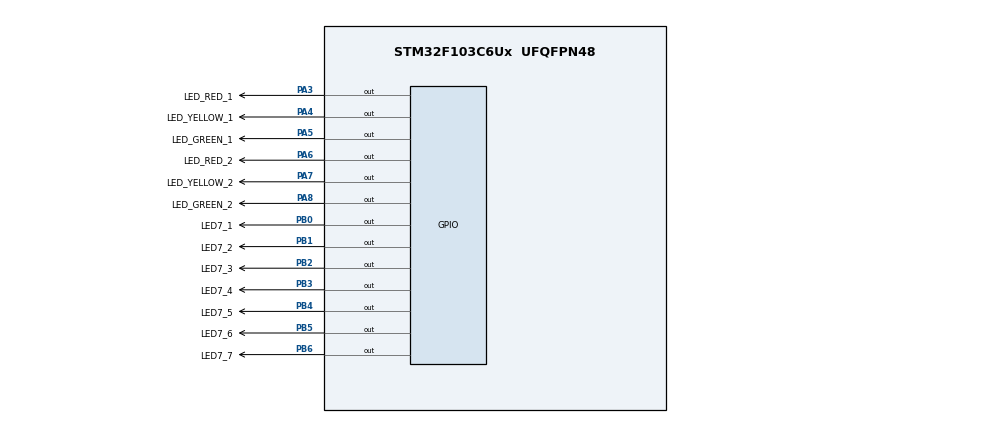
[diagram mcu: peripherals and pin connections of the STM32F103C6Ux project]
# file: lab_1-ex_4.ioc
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Mcu.Family=STM32F1
Mcu.Name=STM32F103C6Ux
Mcu.Package=UFQFPN48
NVIC.PriorityGroup=NVIC_PRIORITYGROUP_4
PA3.GPIO_Label=LED_RED_1
PA3.Signal=GPIO_Output
PA4.GPIO_Label=LED_YELLOW_1
PA4.Signal=GPIO_Output
PA5.GPIO_Label=LED_GREEN_1
PA5.Signal=GPIO_Output
PA6.GPIO_Label=LED_RED_2
PA6.Signal=GPIO_Output
PA7.GPIO_Label=LED_YELLOW_2
PA7.Signal=GPIO_Output
PA8.GPIO_Label=LED_GREEN_2
PA8.Signal=GPIO_Output
PB0.GPIO_Label=LED7_1
PB0.Signal=GPIO_Output
PB1.GPIO_Label=LED7_2
PB1.Signal=GPIO_Output
PB2.GPIO_Label=LED7_3
PB2.Signal=GPIO_Output
PB3.GPIO_Label=LED7_4
PB3.Signal=GPIO_Output
PB4.GPIO_Label=LED7_5
PB4.Signal=GPIO_Output
PB5.GPIO_Label=LED7_6
PB5.Signal=GPIO_Output
PB6.GPIO_Label=LED7_7
PB6.Signal=GPIO_Output
ProjectManager.HeapSize=0x200
ProjectManager.StackSize=0x400
ProjectManager.TargetToolchain=STM32CubeIDE
RCC.APB1Freq_Value=8000000
RCC.APB2Freq_Value=8000000
VP_SYS_VS_ND.Mode=No_Debug
board=custom

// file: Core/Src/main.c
/* USER CODE BEGIN Header */
/**
  ******************************************************************************
  * @file           : main.c
  * @brief          : Main program body
  ******************************************************************************
  * @attention
  *
  * <h2><center>&copy; Copyright (c) 2022 STMicroelectronics.
  * All rights reserved.</center></h2>
  *
  * This software component is licensed by ST under BSD 3-Clause license,
  * the "License"; You may not use this file except in compliance with the
  * License. You may obtain a copy of the License at:
  *                        opensource.org/licenses/BSD-3-Clause
  *
  ******************************************************************************
  */
/* USER CODE END Header */
#include "main.h"

void SystemClock_Config(void);
static void MX_GPIO_Init(void);

int main(void)
{

  /* MCU Configuration--------------------------------------------------------*/

  /* Reset of all peripherals, Initializes the Flash interface and the Systick. */
  HAL_Init();

  /* USER CODE BEGIN Init */
  int point = 0;
  int count_red_1 = 5;
  int count_yellow_1 = 2;
  int count_green_1 = 3;
  int count_red_2 = 5;
  int count_yellow_2 = 2;
  int count_green_2 = 3;
  int counter = 0;
  /* USER CODE END Init */

  /* Configure the system clock */
  SystemClock_Config();

  /* Initialize all configured peripherals */
  MX_GPIO_Init();

  /* Infinite loop */
  /* USER CODE BEGIN WHILE */
  while (1)
  {
	  if(point == 0){
	  		  HAL_GPIO_WritePin(LED_RED_1_GPIO_Port, LED_RED_1_Pin, GPIO_PIN_RESET);
	  		  HAL_GPIO_WritePin(LED_YELLOW_1_GPIO_Port, LED_YELLOW_1_Pin, GPIO_PIN_SET);
	  		  HAL_GPIO_WritePin(LED_GREEN_1_GPIO_Port, LED_GREEN_1_Pin, GPIO_PIN_SET);
	  		  HAL_GPIO_WritePin(LED_RED_2_GPIO_Port, LED_RED_2_Pin, GPIO_PIN_SET);
	  		  if(count_green_2 > 0){
	  			  HAL_GPIO_WritePin(LED_GREEN_2_GPIO_Port, LED_GREEN_2_Pin, GPIO_PIN_RESET);
	  			  HAL_GPIO_WritePin(LED_YELLOW_2_GPIO_Port, LED_YELLOW_2_Pin, GPIO_PIN_SET);
	  			  count_green_2--;
	  		  } else if (count_yellow_2 > 0){
	  			  HAL_GPIO_WritePin(LED_GREEN_2_GPIO_Port, LED_GREEN_2_Pin, GPIO_PIN_SET);
	  			  HAL_GPIO_WritePin(LED_YELLOW_2_GPIO_Port, LED_YELLOW_2_Pin, GPIO_PIN_RESET);
	  			  count_yellow_2--;
	  		  } else {
	  			  count_green_2 = 3;
	  			  count_yellow_2 = 2;
	  		  }
	  		  if(count_red_1 > 0){
	  			  count_red_1--;
	  		  } else {
	  			  count_red_1 = 5;
	  			  point = 1;
	  		  }

	  	  } else {
	  		  HAL_GPIO_WritePin(LED_RED_1_GPIO_Port, LED_RED_1_Pin, GPIO_PIN_SET);
	  		  HAL_GPIO_WritePin(LED_RED_2_GPIO_Port, LED_RED_2_Pin,  GPIO_PIN_RESET);
	  		  HAL_GPIO_WritePin(LED_YELLOW_2_GPIO_Port, LED_YELLOW_2_Pin,  GPIO_PIN_SET);
	  		  HAL_GPIO_WritePin(LED_GREEN_2_GPIO_Port, LED_GREEN_2_Pin,  GPIO_PIN_SET);
	  		  if(count_green_1 > 0){
	  			  HAL_GPIO_WritePin(LED_YELLOW_1_GPIO_Port, LED_YELLOW_1_Pin, GPIO_PIN_SET);
	  			  HAL_GPIO_WritePin(LED_GREEN_1_GPIO_Port, LED_GREEN_1_Pin, GPIO_PIN_RESET);
	  			  count_green_1--;
	  		  } else if(count_yellow_1 > 0){
	  			  HAL_GPIO_WritePin(LED_YELLOW_1_GPIO_Port, LED_YELLOW_1_Pin, GPIO_PIN_RESET);
	  			  HAL_GPIO_WritePin(LED_GREEN_1_GPIO_Port, LED_GREEN_1_Pin, GPIO_PIN_SET);
	  			  count_yellow_1--;
	  		  } else {
	  			  count_green_1 = 3;
	  			  count_yellow_1 = 2;
	  		  }
	  		  if(count_red_2 > 0){
	  			  count_red_2--;
	  		  } else {
	  			  count_red_2 = 5;
	  			  point = 0;
	  		  }

	  	  }
	  	  if(counter == 0){
	  		  	  	  HAL_GPIO_WritePin(LED7_1_GPIO_Port, LED7_1_Pin, RESET);
	  				  HAL_GPIO_WritePin(LED7_2_GPIO_Port, LED7_2_Pin, RESET);
	  				  HAL_GPIO_WritePin(LED7_3_GPIO_Port, LED7_3_Pin, RESET);
	  				  HAL_GPIO_WritePin(LED7_4_GPIO_Port, LED7_4_Pin, RESET);
	  				  HAL_GPIO_WritePin(LED7_5_GPIO_Port, LED7_5_Pin, RESET);
	  				  HAL_GPIO_WritePin(LED7_6_GPIO_Port, LED7_6_Pin, RESET);
	  				  HAL_GPIO_WritePin(LED7_7_GPIO_Port, LED7_7_Pin, SET);
	  				  counter++;
	  	  } else if (counter == 1){
		  	  	  HAL_GPIO_WritePin(LED7_1_GPIO_Port, LED7_1_Pin, SET);
				  HAL_GPIO_WritePin(LED7_2_GPIO_Port, LED7_2_Pin, RESET);
				  HAL_GPIO_WritePin(LED7_3_GPIO_Port, LED7_3_Pin, RESET);
				  HAL_GPIO_WritePin(LED7_4_GPIO_Port, LED7_4_Pin, SET);
				  HAL_GPIO_WritePin(LED7_5_GPIO_Port, LED7_5_Pin, SET);
				  HAL_GPIO_WritePin(LED7_6_GPIO_Port, LED7_6_Pin, SET);
				  HAL_GPIO_WritePin(LED7_7_GPIO_Port, LED7_7_Pin, SET);
				  counter++;
	  	  } else if( counter ==2){
	  	  	  HAL_GPIO_WritePin(LED7_1_GPIO_Port, LED7_1_Pin, RESET);
			  HAL_GPIO_WritePin(LED7_2_GPIO_Port, LED7_2_Pin, RESET);
			  HAL_GPIO_WritePin(LED7_3_GPIO_Port, LED7_3_Pin, SET);
			  HAL_GPIO_WritePin(LED7_4_GPIO_Port, LED7_4_Pin, RESET);
			  HAL_GPIO_WritePin(LED7_5_GPIO_Port, LED7_5_Pin, RESET);
			  HAL_GPIO_WritePin(LED7_6_GPIO_Port, LED7_6_Pin, SET);
			  HAL_GPIO_WritePin(LED7_7_GPIO_Port, LED7_7_Pin, RESET);
			  counter++;
	  	  } else if(counter == 3){
	  	  	  HAL_GPIO_WritePin(LED7_1_GPIO_Port, LED7_1_Pin, RESET);
			  HAL_GPIO_WritePin(LED7_2_GPIO_Port, LED7_2_Pin, RESET);
			  HAL_GPIO_WritePin(LED7_3_GPIO_Port, LED7_3_Pin, RESET);
			  HAL_GPIO_WritePin(LED7_4_GPIO_Port, LED7_4_Pin, RESET);
			  HAL_GPIO_WritePin(LED7_5_GPIO_Port, LED7_5_Pin, SET);
			  HAL_GPIO_WritePin(LED7_6_GPIO_Port, LED7_6_Pin, SET);
			  HAL_GPIO_WritePin(LED7_7_GPIO_Port, LED7_7_Pin, RESET);
			  counter++;
	  	  } else if(counter == 4){
	  	  	  HAL_GPIO_WritePin(LED7_1_GPIO_Port, LED7_1_Pin, SET);
			  HAL_GPIO_WritePin(LED7_2_GPIO_Port, LED7_2_Pin, RESET);
			  HAL_GPIO_WritePin(LED7_3_GPIO_Port, LED7_3_Pin, RESET);
			  HAL_GPIO_WritePin(LED7_4_GPIO_Port, LED7_4_Pin, SET);
			  HAL_GPIO_WritePin(LED7_5_GPIO_Port, LED7_5_Pin, SET);
			  HAL_GPIO_WritePin(LED7_6_GPIO_Port, LED7_6_Pin, RESET);
			  HAL_GPIO_WritePin(LED7_7_GPIO_Port, LED7_7_Pin, RESET);
			  counter++;
	  	  } else if(counter == 5){
	  	  	  HAL_GPIO_WritePin(LED7_1_GPIO_Port, LED7_1_Pin, RESET);
			  HAL_GPIO_WritePin(LED7_2_GPIO_Port, LED7_2_Pin, SET);
			  HAL_GPIO_WritePin(LED7_3_GPIO_Port, LED7_3_Pin, RESET);
			  HAL_GPIO_WritePin(LED7_4_GPIO_Port, LED7_4_Pin, RESET);
			  HAL_GPIO_WritePin(LED7_5_GPIO_Port, LED7_5_Pin, SET);
			  HAL_GPIO_WritePin(LED7_6_GPIO_Port, LED7_6_Pin, RESET);
			  HAL_GPIO_WritePin(LED7_7_GPIO_Port, LED7_7_Pin, RESET);
			  counter++;
	  	  } else if(counter == 6){
	  	  	  HAL_GPIO_WritePin(LED7_1_GPIO_Port, LED7_1_Pin, RESET);
			  HAL_GPIO_WritePin(LED7_2_GPIO_Port, LED7_2_Pin, SET);
			  HAL_GPIO_WritePin(LED7_3_GPIO_Port, LED7_3_Pin, RESET);
			  HAL_GPIO_WritePin(LED7_4_GPIO_Port, LED7_4_Pin, RESET);
			  HAL_GPIO_WritePin(LED7_5_GPIO_Port, LED7_5_Pin, RESET);
			  HAL_GPIO_WritePin(LED7_6_GPIO_Port, LED7_6_Pin, RESET);
			  HAL_GPIO_WritePin(LED7_7_GPIO_Port, LED7_7_Pin, RESET);
			  counter++;
	  	  } else if(counter == 7){
	  	  	  HAL_GPIO_WritePin(LED7_1_GPIO_Port, LED7_1_Pin, RESET);
			  HAL_GPIO_WritePin(LED7_2_GPIO_Port, LED7_2_Pin, RESET);
			  HAL_GPIO_WritePin(LED7_3_GPIO_Port, LED7_3_Pin, RESET);
			  HAL_GPIO_WritePin(LED7_4_GPIO_Port, LED7_4_Pin, SET);
			  HAL_GPIO_WritePin(LED7_5_GPIO_Port, LED7_5_Pin, SET);
			  HAL_GPIO_WritePin(LED7_6_GPIO_Port, LED7_6_Pin, SET);
			  HAL_GPIO_WritePin(LED7_7_GPIO_Port, LED7_7_Pin, SET);
			  counter++;
	  	  } else if(counter == 8){
	  	  	  HAL_GPIO_WritePin(LED7_1_GPIO_Port, LED7_1_Pin, RESET);
			  HAL_GPIO_WritePin(LED7_2_GPIO_Port, LED7_2_Pin, RESET);
			  HAL_GPIO_WritePin(LED7_3_GPIO_Port, LED7_3_Pin, RESET);
			  HAL_GPIO_WritePin(LED7_4_GPIO_Port, LED7_4_Pin, RESET);
			  HAL_GPIO_WritePin(LED7_5_GPIO_Port, LED7_5_Pin, RESET);
			  HAL_GPIO_WritePin(LED7_6_GPIO_Port, LED7_6_Pin, RESET);
			  HAL_GPIO_WritePin(LED7_7_GPIO_Port, LED7_7_Pin, RESET);
			  counter++;
	  	  } else{
	  	  	  HAL_GPIO_WritePin(LED7_1_GPIO_Port, LED7_1_Pin, RESET);
			  HAL_GPIO_WritePin(LED7_2_GPIO_Port, LED7_2_Pin, RESET);
			  HAL_GPIO_WritePin(LED7_3_GPIO_Port, LED7_3_Pin, RESET);
			  HAL_GPIO_WritePin(LED7_4_GPIO_Port, LED7_4_Pin, RESET);
			  HAL_GPIO_WritePin(LED7_5_GPIO_Port, LED7_5_Pin, SET);
			  HAL_GPIO_WritePin(LED7_6_GPIO_Port, LED7_6_Pin, RESET);
			  HAL_GPIO_WritePin(LED7_7_GPIO_Port, LED7_7_Pin, RESET);
			  counter = 0;
	  	  }

	  	  HAL_Delay(1000);
    /* USER CODE END WHILE */

  }
}

void SystemClock_Config(void)
{
  RCC_OscInitTypeDef RCC_OscInitStruct = {0};
  RCC_ClkInitTypeDef RCC_ClkInitStruct = {0};

  /** Initializes the RCC Oscillators according to the specified parameters
  * in the RCC_OscInitTypeDef structure.
  */
  RCC_OscInitStruct.OscillatorType = RCC_OSCILLATORTYPE_HSI;
  RCC_OscInitStruct.HSIState = RCC_HSI_ON;
  RCC_OscInitStruct.HSICalibrationValue = RCC_HSICALIBRATION_DEFAULT;
  RCC_OscInitStruct.PLL.PLLState = RCC_PLL_NONE;
  if (HAL_RCC_OscConfig(&RCC_OscInitStruct) != HAL_OK)
  {
    Error_Handler();
  }
  /** Initializes the CPU, AHB and APB buses clocks
  */
  RCC_ClkInitStruct.ClockType = RCC_CLOCKTYPE_HCLK|RCC_CLOCKTYPE_SYSCLK
                              |RCC_CLOCKTYPE_PCLK1|RCC_CLOCKTYPE_PCLK2;
  RCC_ClkInitStruct.SYSCLKSource = RCC_SYSCLKSOURCE_HSI;
  RCC_ClkInitStruct.AHBCLKDivider = RCC_SYSCLK_DIV1;
  RCC_ClkInitStruct.APB1CLKDivider = RCC_HCLK_DIV1;
  RCC_ClkInitStruct.APB2CLKDivider = RCC_HCLK_DIV1;

  if (HAL_RCC_ClockConfig(&RCC_ClkInitStruct, FLASH_LATENCY_0) != HAL_OK)
  {
    Error_Handler();
  }
}

static void MX_GPIO_Init(void)
{
  GPIO_InitTypeDef GPIO_InitStruct = {0};

  /* GPIO Ports Clock Enable */
  __HAL_RCC_GPIOA_CLK_ENABLE();
  __HAL_RCC_GPIOB_CLK_ENABLE();

  /*Configure GPIO pin Output Level */
  HAL_GPIO_WritePin(GPIOA, LED_RED_1_Pin|LED_YELLOW_1_Pin|LED_GREEN_1_Pin|LED_RED_2_Pin
                          |LED_YELLOW_2_Pin|LED_GREEN_2_Pin, GPIO_PIN_RESET);

  /*Configure GPIO pin Output Level */
  HAL_GPIO_WritePin(GPIOB, LED7_1_Pin|LED7_2_Pin|LED7_3_Pin|LED7_4_Pin
                          |LED7_5_Pin|LED7_6_Pin|LED7_7_Pin, GPIO_PIN_RESET);

  /*Configure GPIO pins : LED_RED_1_Pin LED_YELLOW_1_Pin LED_GREEN_1_Pin LED_RED_2_Pin
                           LED_YELLOW_2_Pin LED_GREEN_2_Pin */
  GPIO_InitStruct.Pin = LED_RED_1_Pin|LED_YELLOW_1_Pin|LED_GREEN_1_Pin|LED_RED_2_Pin
                          |LED_YELLOW_2_Pin|LED_GREEN_2_Pin;
  GPIO_InitStruct.Mode = GPIO_MODE_OUTPUT_PP;
  GPIO_InitStruct.Pull = GPIO_NOPULL;
  GPIO_InitStruct.Speed = GPIO_SPEED_FREQ_LOW;
  HAL_GPIO_Init(GPIOA, &GPIO_InitStruct);

  /*Configure GPIO pins : LED7_1_Pin LED7_2_Pin LED7_3_Pin LED7_4_Pin
                           LED7_5_Pin LED7_6_Pin LED7_7_Pin */
  GPIO_InitStruct.Pin = LED7_1_Pin|LED7_2_Pin|LED7_3_Pin|LED7_4_Pin
                          |LED7_5_Pin|LED7_6_Pin|LED7_7_Pin;
  GPIO_InitStruct.Mode = GPIO_MODE_OUTPUT_PP;
  GPIO_InitStruct.Pull = GPIO_NOPULL;
  GPIO_InitStruct.Speed = GPIO_SPEED_FREQ_LOW;
  HAL_GPIO_Init(GPIOB, &GPIO_InitStruct);

}

void Error_Handler(void)
{
  __disable_irq();
  while (1)
  {
  }
}

/************************ (C) COPYRIGHT STMicroelectronics *****END OF FILE****/
